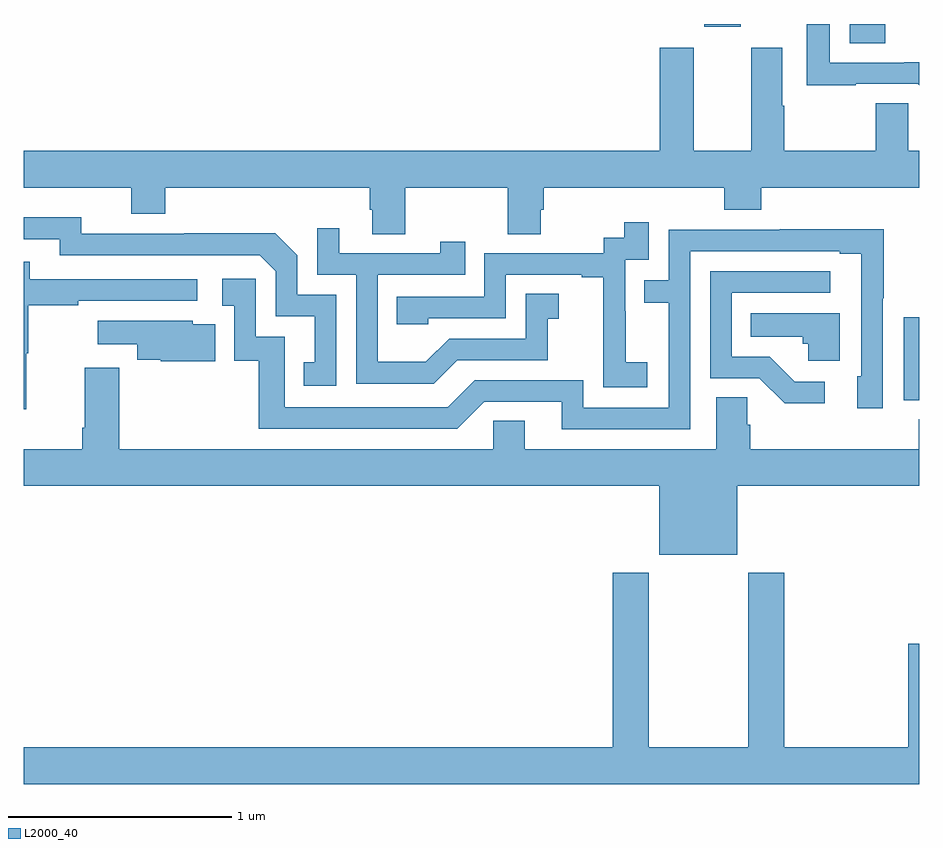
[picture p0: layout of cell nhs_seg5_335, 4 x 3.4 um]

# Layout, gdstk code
import gdstk
lib = gdstk.Library(unit=1e-6, precision=1e-09)
def R(c, l, rs):  # rectangles x0, y0, x1, y1
    for r in rs: c.add(gdstk.rectangle(r[:2], r[2:], *l))
def P(c, l, *ps):  # polygons
    for p in ps: c.add(gdstk.Polygon(p, *l))
L2000_40 = (2000, 40)

nhs_seg5_335 = lib.new_cell('nhs_seg5_335')
R(nhs_seg5_335, L2000_40, [(134.931,881.118,135,881.488), (134.69,882.712,134.848,882.799), (134.039,882.786,134.203,882.799)])
P(nhs_seg5_335, L2000_40, [(135,882.629),(134.933,882.629),(134.933,882.627),(134.601,882.627),(134.601,882.799),(134.498,882.799),(134.498,882.526),(134.717,882.526),(134.717,882.531),(134.994,882.531),(135,882.525)],
  [(132.705,882.068),(133.162,882.068),(133.162,881.86),(133.309,881.86),(133.309,881.97),(133.322,881.97),(133.322,882.068),(134.129,882.068),(134.129,881.969),(134.294,881.969),(134.294,882.068),(135,882.068),(135,882.232),(134.952,882.232),(134.952,882.446),(134.806,882.446),(134.806,882.232),(134.397,882.232),(134.397,882.434),(134.389,882.434),(134.389,882.694),(134.249,882.694),(134.249,882.232),(133.993,882.232),(133.993,882.694),(133.841,882.694),(133.841,882.232),(131,882.232),(131,882.068),(131.48,882.068),(131.48,881.951),(131.633,881.951),(131.633,882.068),(132.545,882.068),(132.545,881.97),(132.557,881.97),(132.557,881.86),(132.705,881.86)],
  [(132.396,881.589),(132.222,881.589),(132.222,881.766),(132.124,881.864),(131.716,881.864),(131.716,881.862),(131.256,881.862),(131.256,881.935),(131,881.935),(131,881.838),(131.16,881.838),(131.16,881.766),(132.054,881.766),(132.126,881.694),(132.126,881.493),(132.299,881.493),(132.299,881.289),(132.25,881.289),(132.25,881.184),(132.396,881.184)],
  [(133.786,881.287),(133.688,881.287),(133.688,881.516),(133.686,881.516),(133.686,881.745),(133.791,881.745),(133.791,881.914),(133.683,881.914),(133.683,881.844),(133.59,881.844),(133.59,881.775),(133.056,881.775),(133.056,881.58),(132.667,881.58),(132.667,881.457),(132.807,881.457),(132.807,881.484),(133.152,881.484),(133.152,881.679),(133.493,881.679),(133.493,881.667),(133.589,881.667),(133.589,881.383),(133.588,881.383),(133.588,881.177),(133.786,881.177)],
  [(132.937,881.298),(133.341,881.298),(133.341,881.483),(133.39,881.483),(133.39,881.593),(133.242,881.593),(133.242,881.394),(132.9,881.394),(132.796,881.29),(132.582,881.29),(132.582,881.679),(132.971,881.679),(132.971,881.827),(132.86,881.827),(132.86,881.775),(132.409,881.775),(132.409,881.887),(132.312,881.887),(132.312,881.679),(132.486,881.679),(132.486,881.193),(132.832,881.193)],
  [(133.977,881.784),(134.645,881.784),(134.645,881.772),(134.742,881.772),(134.742,881.226),(134.723,881.226),(134.723,881.082),(134.838,881.082),(134.838,881.575),(134.841,881.575),(134.841,881.882),(134.377,881.882),(134.377,881.88),(133.881,881.88),(133.881,881.655),(133.771,881.655),(133.771,881.554),(133.881,881.554),(133.881,881.085),(133.5,881.085),(133.5,881.208),(133.014,881.208),(132.894,881.088),(132.165,881.088),(132.165,881.403),(132.036,881.403),(132.036,881.662),(131.886,881.662),(131.886,881.541),(131.94,881.541),(131.94,881.295),(132.049,881.295),(132.049,880.992),(132.936,880.992),(133.056,881.112),(133.403,881.112),(133.403,880.989),(133.977,880.989)],
  [(131.012,881.328),(131.02,881.328),(131.02,881.542),(131.243,881.542),(131.243,881.562),(131.776,881.562),(131.776,881.658),(131.027,881.658),(131.027,881.737),(131,881.737),(131,881.079),(131.012,881.079)],
  [(134.578,881.202),(134.443,881.202),(134.332,881.313),(134.163,881.313),(134.163,881.598),(134.602,881.598),(134.602,881.694),(134.067,881.694),(134.067,881.217),(134.286,881.217),(134.399,881.105),(134.578,881.105)],
  [(134.644,881.506),(134.248,881.506),(134.248,881.402),(134.479,881.402),(134.479,881.37),(134.505,881.37),(134.505,881.294),(134.644,881.294)],
  [(131.855,881.458),(131.754,881.458),(131.754,881.473),(131.331,881.473),(131.331,881.369),(131.507,881.369),(131.507,881.3),(131.611,881.3),(131.611,881.293),(131.855,881.293)],
  [(134.188,880.736),(135,880.736),(135,881.033),(134.999,881.033),(134.999,880.9),(134.246,880.9),(134.246,881.009),(134.232,881.009),(134.232,881.132),(134.093,881.132),(134.093,880.9),(133.237,880.9),(133.237,881.027),(133.098,881.027),(133.098,880.9),(131.426,880.9),(131.426,881.263),(131.273,881.263),(131.273,880.996),(131.261,880.996),(131.261,880.9),(131,880.9),(131,880.736),(133.838,880.736),(133.838,880.427),(134.188,880.427)],
  [(135,880.03),(134.951,880.03),(134.951,879.568),(134.396,879.568),(134.396,880.348),(134.236,880.348),(134.236,879.568),(133.791,879.568),(133.791,880.348),(133.631,880.348),(133.631,879.568),(131,879.568),(131,879.404),(135,879.404)])

lib.write_gds('nhs_seg5_335.gds')
